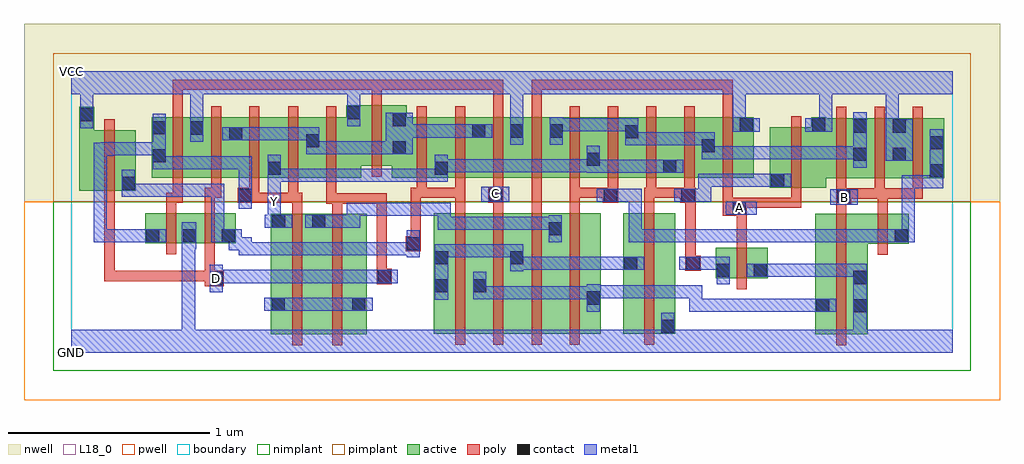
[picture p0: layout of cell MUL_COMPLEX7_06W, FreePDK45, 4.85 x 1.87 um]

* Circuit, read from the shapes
.subckt MUL_COMPLEX7_06W A B C D GND VCC Y
M1 GND C n1 VSUBS nfet w=0.15u l=0.05u
M2 n2 D GND VSUBS nfet w=0.15u l=0.05u
M3 n3 n1 Y VSUBS nfet w=0.6u l=0.05u
M4 Y D n3 VSUBS nfet w=0.6u l=0.05u
M5 n4 n2 n5 VSUBS nfet w=0.6u l=0.05u
M6 n5 C n4 VSUBS nfet w=0.6u l=0.05u
M7 n3 A n5 VSUBS nfet w=0.6u l=0.05u
M8 n4 n6 n3 VSUBS nfet w=0.6u l=0.05u
M9 GND n7 n5 VSUBS nfet w=0.6u l=0.05u
M10 GND A n7 VSUBS nfet w=0.15u l=0.05u
M11 GND B n4 VSUBS nfet w=0.6u l=0.05u
M12 n6 B GND VSUBS nfet w=0.15u l=0.05u
M13 n2 D VCC n8 pfet w=0.3u l=0.05u
M14 VCC C n1 n8 pfet w=0.3u l=0.05u
M15 n9 D VCC n8 pfet w=0.3u l=0.05u m=2
M16 Y n1 n9 n8 pfet w=0.3u l=0.05u m=2
M17 n9 C VCC n8 pfet w=0.3u l=0.05u m=2
M18 Y n2 n9 n8 pfet w=0.3u l=0.05u m=2
M19 n10 A VCC n8 pfet w=0.3u l=0.05u m=2
M20 Y n6 n10 n8 pfet w=0.3u l=0.05u m=2
M21 Y n7 n10 n8 pfet w=0.3u l=0.05u m=2
M22 VCC A n7 n8 pfet w=0.3u l=0.05u
M23 n10 B VCC n8 pfet w=0.3u l=0.05u m=2
M24 n6 B VCC n8 pfet w=0.3u l=0.05u
.ends

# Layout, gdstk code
import gdstk
lib = gdstk.Library(unit=1e-6, precision=1e-09)
def R(c, l, rs):  # rectangles x0, y0, x1, y1
    for r in rs: c.add(gdstk.rectangle(r[:2], r[2:], *l))
def A(c, l, x, y, w, h, nx, ny, dx, dy):  # array of equal rectangles
    R(c, l, [(x+i*dx, y+j*dy, x+i*dx+w, y+j*dy+h) for i in range(nx) for j in range(ny)])
active = (1, 0)
pwell = (2, 0)
nwell = (3, 0)
nimplant = (4, 0)
pimplant = (5, 0)
poly = (9, 0)
contact = (10, 0)
metal1 = (11, 0)
L18_0 = (18, 0)
boundary = (235, 0)

mul_complex7_06w = lib.new_cell('MUL_COMPLEX7_06W')
A(mul_complex7_06w, active, 2.557, 0.87, 0.265, 0.3, 4, 1, 0.19, 0)
R(mul_complex7_06w, active, [(0.99,0.092,1.267,0.692), (1.192,0.092,1.467,0.692), (3.697,0.092,3.957,0.692), (0.99,0.095,1.067,0.692), (1.192,0.095,1.267,0.692), (1.392,0.095,1.467,0.305), (1.802,0.095,1.877,0.695), (1.802,0.095,2.067,0.695), (1.992,0.095,2.252,0.695), (1.992,0.095,2.067,0.547), (2.177,0.095,2.442,0.695), (2.177,0.095,2.252,0.677), (2.367,0.095,2.442,0.695), (2.367,0.095,2.632,0.695), (2.557,0.095,2.632,0.68), (2.742,0.095,3.002,0.695), (2.742,0.095,2.817,0.695), (2.927,0.095,3.002,0.417), (3.697,0.095,3.772,0.657), (3.882,0.197,3.957,0.542), (3.202,0.372,3.277,0.522), (3.202,0.372,3.462,0.522), (3.387,0.372,3.462,0.522), (3.882,0.542,4.162,0.692), (4.087,0.542,4.162,0.692), (0.367,0.545,0.442,0.695), (0.367,0.545,0.627,0.695), (0.552,0.545,0.817,0.695), (0.552,0.545,0.627,0.62), (0.742,0.545,0.817,0.695), (0.04,0.805,0.32,1.105), (0.04,0.805,0.115,1.222), (0.245,0.805,0.32,1.07), (3.472,0.82,3.752,1.12), (3.472,0.82,3.547,1.047), (3.677,0.867,3.957,1.167), (3.882,0.867,4.152,1.167), (3.882,0.867,3.957,1.167), (4.077,0.867,4.337,1.167), (4.077,0.867,4.152,1.165), (4.262,0.867,4.337,1.105), (0.4,0.87,0.66,1.17), (0.4,0.87,0.475,1.17), (0.585,0.87,0.855,1.17), (0.78,0.87,1.047,1.17), (0.972,0.87,1.237,1.17), (0.972,0.87,1.047,1.07), (1.162,0.87,1.442,1.17), (1.592,0.87,1.875,1.17), (1.8,0.87,1.875,1.07), (1.8,0.87,2.062,1.17), (1.987,0.87,2.252,1.17), (2.177,0.87,2.447,1.17), (2.372,0.87,2.632,1.17), (2.557,0.87,2.632,1.07), (2.747,0.87,2.822,1.142), (2.937,0.87,3.012,1.07), (3.127,0.872,3.202,1.105), (0.78,0.882,0.855,1.127), (1.162,0.882,1.237,1.142), (2.177,0.907,2.252,1.17), (1.987,0.927,2.062,1.142), (1.367,0.93,1.667,1.23), (0.585,0.962,0.66,1.155), (1.592,0.962,1.667,1.197), (2.372,0.962,2.447,1.14), (1.367,0.98,1.442,1.23), (3.677,1.002,3.752,1.17), (3.317,1.007,3.392,1.17)])
R(mul_complex7_06w, pwell, [(-0.235,-0.235,4.615,0.75)])
R(mul_complex7_06w, nwell, [(-0.235,0.75,4.615,1.635)])
R(mul_complex7_06w, nimplant, [(-0.09,-0.09,4.47,0.75)])
R(mul_complex7_06w, pimplant, [(-0.09,0.75,4.47,1.49)])
A(mul_complex7_06w, poly, 1.907, 0.04, 0.05, 0.71, 4, 1, 0.19, 0)
A(mul_complex7_06w, poly, 3.802, 0.767, 0.05, 0.095, 3, 1, 0.19, 0)
A(mul_complex7_06w, poly, 1.717, 0.77, 0.05, 0.095, 8, 1, 0.19, 0)
A(mul_complex7_06w, poly, 3.802, 0.812, 0.05, 0.41, 3, 1, 0.19, 0)
A(mul_complex7_06w, poly, 0.505, 0.815, 0.05, 0.41, 3, 1, 0.19, 0)
A(mul_complex7_06w, poly, 1.717, 0.815, 0.05, 0.41, 9, 1, 0.19, 0)
R(mul_complex7_06w, poly, [(1.097,0.037,1.147,0.747), (1.297,0.037,1.347,0.747), (3.802,0.037,3.852,0.747), (2.847,0.04,2.897,0.75), (3.307,0.317,3.357,0.577), (0.662,0.332,0.757,0.407), (1.517,0.342,1.592,0.417), (0.165,0.357,0.215,0.407), (0.165,0.357,0.215,0.407), (0.165,0.357,0.215,0.407), (0.165,0.357,0.215,0.407), (0.165,0.357,0.215,0.407), (0.165,0.357,0.215,0.407), (0.165,0.357,0.215,0.407), (0.165,0.357,0.215,0.407), (0.165,0.357,0.215,0.407), (0.165,0.357,0.347,0.407), (0.165,0.357,0.215,0.8), (0.297,0.357,0.347,0.407), (0.297,0.357,0.48,0.407), (0.43,0.357,0.48,0.407), (0.43,0.357,0.48,0.407), (0.43,0.357,0.48,0.407), (0.43,0.357,0.712,0.407), (0.662,0.357,0.712,0.54), (1.517,0.367,1.567,0.417), (1.517,0.367,1.567,0.417), (1.517,0.367,1.567,0.417), (1.517,0.367,1.567,0.417), (1.517,0.367,1.567,0.792), (3.052,0.407,3.127,0.482), (3.052,0.432,3.102,0.482), (3.052,0.432,3.102,0.482), (3.052,0.432,3.102,0.795), (4.007,0.487,4.057,0.747), (0.472,0.49,0.522,0.75), (0.662,0.49,0.712,0.75), (1.662,0.505,1.737,0.58), (3.307,0.527,3.357,0.732), (1.687,0.53,1.737,0.82), (3.237,0.682,3.357,0.77), (1.097,0.697,1.147,0.795), (1.297,0.697,1.347,0.792), (3.802,0.697,3.852,0.792), (4.007,0.697,4.057,0.817), (0.472,0.7,0.522,0.795), (0.662,0.7,0.712,0.82), (1.907,0.7,1.957,0.82), (2.097,0.7,2.147,0.795), (2.287,0.7,2.337,0.82), (2.477,0.7,2.527,0.82), (2.847,0.7,2.897,0.82), (3.237,0.72,3.287,0.865), (3.307,0.72,3.357,0.77), (3.307,0.72,3.357,0.77), (3.307,0.72,3.627,0.77), (3.577,0.72,3.627,0.815), (3.577,0.72,3.627,0.77), (3.577,0.72,3.627,0.77), (3.577,0.72,3.627,0.77), (1.267,0.742,1.347,0.792), (1.267,0.742,1.317,0.865), (1.297,0.742,1.567,0.792), (1.517,0.742,1.567,0.792), (1.517,0.742,1.567,0.792), (1.517,0.742,1.567,0.792), (3.802,0.742,3.877,0.817), (0.472,0.745,0.555,0.795), (0.505,0.745,0.555,0.865), (0.827,0.745,0.935,0.82), (0.885,0.745,0.935,0.795), (0.885,0.745,0.935,0.795), (0.885,0.745,1.127,0.795), (1.077,0.745,1.127,0.865), (1.077,0.745,1.147,0.795), (2.072,0.745,2.147,0.82), (2.642,0.745,2.717,0.82), (3.027,0.745,3.102,0.82), (0.165,0.75,0.215,1.16), (3.577,0.765,3.627,1.175), (3.827,0.767,4.042,0.817), (3.992,0.767,4.042,0.817), (3.992,0.767,4.042,0.817), (3.992,0.767,4.057,0.817), (4.007,0.767,4.232,0.817), (4.182,0.767,4.232,0.817), (4.182,0.767,4.232,0.817), (4.182,0.767,4.232,0.817), (0.662,0.77,0.745,0.82), (0.695,0.77,0.745,0.865), (0.885,0.77,0.935,0.865), (1.687,0.77,1.737,0.82), (1.687,0.77,1.737,0.82), (1.687,0.77,1.767,0.82), (1.717,0.77,1.957,0.82), (1.907,0.77,1.957,0.82), (1.907,0.77,1.957,0.82), (1.907,0.77,1.957,0.82), (2.287,0.77,2.337,0.82), (2.477,0.77,2.527,0.82), (2.477,0.77,2.527,0.82), (2.477,0.77,2.527,0.82), (2.477,0.77,2.692,0.82), (2.847,0.77,2.907,0.82), (2.857,0.77,2.907,0.82), (2.857,0.77,2.907,0.82), (2.857,0.77,3.077,0.82), (1.077,0.815,1.127,1.225), (1.267,0.815,1.317,1.225), (1.492,0.875,1.542,1.285), (0.505,1.175,0.555,1.357), (2.097,1.175,2.147,1.357), (2.287,1.175,2.337,1.357), (3.237,1.175,3.287,1.357), (1.492,1.235,1.542,1.357), (0.505,1.307,0.555,1.357), (0.505,1.307,0.555,1.357), (0.505,1.307,0.555,1.357), (0.505,1.307,0.687,1.357), (0.637,1.307,0.687,1.357), (0.637,1.307,0.687,1.357), (0.637,1.307,0.687,1.357), (0.637,1.307,0.877,1.357), (0.827,1.307,0.877,1.357), (0.827,1.307,0.877,1.357), (0.827,1.307,0.877,1.357), (0.827,1.307,1.147,1.357), (1.097,1.307,1.147,1.357), (1.097,1.307,1.147,1.357), (1.097,1.307,1.147,1.357), (1.097,1.307,1.28,1.357), (1.23,1.307,1.28,1.357), (1.23,1.307,1.28,1.357), (1.23,1.307,1.28,1.357), (1.23,1.307,1.542,1.357), (1.492,1.307,1.542,1.357), (1.492,1.307,1.825,1.357), (1.775,1.307,1.825,1.357), (1.775,1.307,1.825,1.357), (1.775,1.307,1.825,1.357), (1.775,1.307,1.99,1.357), (1.94,1.307,1.99,1.357), (1.94,1.307,1.99,1.357), (1.94,1.307,1.99,1.357), (1.94,1.307,2.147,1.357), (2.097,1.307,2.147,1.357), (2.097,1.307,2.147,1.357), (2.097,1.307,2.147,1.357), (2.287,1.307,2.337,1.357), (2.287,1.307,2.337,1.357), (2.287,1.307,2.337,1.357), (2.287,1.307,2.527,1.357), (2.477,1.307,2.527,1.357), (2.477,1.307,2.527,1.357), (2.477,1.307,2.527,1.357), (2.477,1.307,2.66,1.357), (2.61,1.307,2.66,1.357), (2.61,1.307,2.66,1.357), (2.61,1.307,2.66,1.357), (2.61,1.307,2.85,1.357), (2.8,1.307,2.85,1.357), (2.8,1.307,2.85,1.357), (2.8,1.307,2.85,1.357), (2.8,1.307,3.04,1.357), (2.99,1.307,3.04,1.357), (2.99,1.307,3.04,1.357), (2.99,1.307,3.04,1.357), (2.99,1.307,3.287,1.357), (3.237,1.307,3.287,1.357)])
R(mul_complex7_06w, contact, [(2.932,0.1,2.997,0.165), (3.887,0.202,3.952,0.267), (3.702,0.205,3.767,0.27), (0.995,0.21,1.06,0.275), (1.397,0.21,1.462,0.275), (2.562,0.24,2.627,0.305), (1.807,0.3,1.872,0.365), (1.997,0.302,2.062,0.367), (0.687,0.337,0.752,0.402), (3.887,0.342,3.952,0.407), (1.522,0.347,1.587,0.412), (3.207,0.377,3.272,0.442), (3.392,0.377,3.457,0.442), (2.747,0.412,2.812,0.477), (3.057,0.412,3.122,0.477), (1.807,0.44,1.872,0.505), (2.182,0.44,2.247,0.505), (1.667,0.51,1.732,0.575), (0.372,0.55,0.437,0.615), (0.557,0.55,0.622,0.615), (0.747,0.55,0.812,0.615), (4.092,0.55,4.157,0.615), (2.372,0.585,2.437,0.65), (0.997,0.622,1.062,0.687), (1.197,0.622,1.262,0.687), (3.287,0.687,3.352,0.752), (3.807,0.747,3.872,0.812), (0.832,0.75,0.897,0.815), (2.077,0.75,2.142,0.815), (2.647,0.75,2.712,0.815), (3.032,0.75,3.097,0.815), (0.25,0.81,0.315,0.875), (3.477,0.825,3.542,0.89), (4.267,0.872,4.332,0.937), (0.977,0.885,1.042,0.95), (1.805,0.885,1.87,0.95), (2.942,0.895,3.007,0.96), (2.562,0.93,2.627,0.995), (0.405,0.947,0.47,1.012), (3.887,0.955,3.952,1.02), (4.082,0.955,4.147,1.02), (1.597,0.987,1.662,1.052), (3.132,0.997,3.197,1.062), (4.267,1.012,4.332,1.077), (1.167,1.022,1.232,1.087), (0.785,1.057,0.85,1.122), (2.752,1.067,2.817,1.132), (1.992,1.07,2.057,1.135), (2.182,1.07,2.247,1.135), (2.377,1.07,2.442,1.135), (0.59,1.085,0.655,1.15), (0.405,1.087,0.47,1.152), (3.887,1.095,3.952,1.16), (4.082,1.095,4.147,1.16), (3.322,1.1,3.387,1.165), (3.682,1.1,3.747,1.165), (1.597,1.127,1.662,1.192), (0.045,1.152,0.11,1.217), (1.372,1.16,1.437,1.225)])
R(mul_complex7_06w, metal1, [(0,0,4.38,0.115), (0.55,0.05,0.615,0.115), (0.55,0.05,0.615,0.115), (0.55,0.05,0.615,0.115), (0.55,0.05,0.615,0.115), (0.55,0.05,0.615,0.58), (2.932,0.05,2.997,0.13), (3.887,0.05,3.952,0.232), (2.932,0.065,2.997,0.2), (3.887,0.167,3.952,0.442), (2.562,0.205,2.627,0.34), (3.07,0.205,3.197,0.27), (3.07,0.205,3.135,0.337), (3.132,0.205,3.197,0.27), (3.132,0.205,3.335,0.27), (3.27,0.205,3.335,0.27), (3.27,0.205,3.335,0.27), (3.27,0.205,3.335,0.27), (3.27,0.205,3.472,0.27), (3.407,0.205,3.472,0.27), (3.407,0.205,3.677,0.27), (3.612,0.205,3.677,0.27), (3.612,0.205,3.732,0.27), (3.667,0.205,3.802,0.27), (0.96,0.21,1.095,0.275), (1.03,0.21,1.095,0.275), (1.03,0.21,1.095,0.275), (1.03,0.21,1.29,0.275), (1.225,0.21,1.29,0.275), (1.225,0.21,1.29,0.275), (1.225,0.21,1.29,0.275), (1.225,0.21,1.427,0.275), (1.362,0.21,1.497,0.275), (1.807,0.265,1.872,0.54), (1.997,0.267,2.062,0.332), (1.997,0.267,2.062,0.332), (1.997,0.267,2.2,0.332), (1.997,0.267,2.062,0.402), (2.135,0.267,2.2,0.332), (2.135,0.267,2.2,0.332), (2.135,0.267,2.2,0.332), (2.135,0.267,2.437,0.332), (2.372,0.267,2.437,0.332), (2.372,0.267,2.437,0.332), (2.372,0.267,2.437,0.332), (2.372,0.267,2.627,0.332), (2.562,0.272,2.627,0.337), (2.562,0.272,2.627,0.337), (2.562,0.272,2.765,0.337), (2.7,0.272,2.765,0.337), (2.7,0.272,2.885,0.337), (2.82,0.272,2.885,0.337), (2.82,0.272,3.042,0.337), (2.977,0.272,3.042,0.337), (2.977,0.272,3.135,0.337), (0.687,0.302,0.752,0.437), (3.207,0.342,3.272,0.477), (0.687,0.347,0.752,0.412), (0.687,0.347,0.752,0.412), (0.687,0.347,0.905,0.412), (0.84,0.347,0.905,0.412), (0.84,0.347,1.09,0.412), (1.025,0.347,1.09,0.412), (1.025,0.347,1.09,0.412), (1.025,0.347,1.09,0.412), (1.025,0.347,1.235,0.412), (1.17,0.347,1.235,0.412), (1.17,0.347,1.235,0.412), (1.17,0.347,1.235,0.412), (1.17,0.347,1.435,0.412), (1.37,0.347,1.435,0.412), (1.37,0.347,1.552,0.412), (1.487,0.347,1.622,0.412), (3.357,0.377,3.492,0.442), (3.427,0.377,3.492,0.442), (3.427,0.377,3.492,0.442), (3.427,0.377,3.677,0.442), (3.612,0.377,3.677,0.442), (3.612,0.377,3.677,0.442), (3.612,0.377,3.677,0.442), (3.612,0.377,3.952,0.442), (3.887,0.377,3.952,0.442), (3.887,0.377,3.952,0.442), (3.887,0.377,3.952,0.442), (3.887,0.377,3.952,0.442), (3.887,0.377,3.952,0.442), (3.887,0.377,3.952,0.442), (3.887,0.377,3.952,0.442), (3.887,0.377,3.952,0.442), (2.182,0.405,2.247,0.54), (2.182,0.412,2.247,0.477), (2.182,0.412,2.247,0.477), (2.182,0.412,2.49,0.477), (2.425,0.412,2.49,0.477), (2.425,0.412,2.49,0.477), (2.425,0.412,2.49,0.477), (2.425,0.412,2.627,0.477), (2.562,0.412,2.627,0.477), (2.562,0.412,2.627,0.477), (2.562,0.412,2.627,0.477), (2.562,0.412,2.777,0.477), (2.712,0.412,2.847,0.477), (3.022,0.412,3.157,0.477), (3.092,0.412,3.272,0.477), (1.667,0.475,1.732,0.61), (1.807,0.475,1.872,0.54), (1.807,0.475,1.872,0.54), (1.807,0.475,2.022,0.54), (1.957,0.475,2.022,0.54), (1.957,0.475,2.022,0.54), (1.957,0.475,2.022,0.54), (1.957,0.475,2.247,0.54), (0.832,0.485,1.09,0.55), (0.832,0.485,0.897,0.575), (1.025,0.485,1.09,0.55), (1.025,0.485,1.09,0.55), (1.025,0.485,1.09,0.55), (1.025,0.485,1.29,0.55), (1.225,0.485,1.29,0.55), (1.225,0.485,1.29,0.55), (1.225,0.485,1.29,0.55), (1.225,0.485,1.435,0.55), (1.37,0.485,1.435,0.55), (1.37,0.485,1.435,0.55), (1.37,0.485,1.435,0.55), (1.37,0.485,1.732,0.55), (1.667,0.485,1.732,0.55), (1.667,0.485,1.732,0.55), (0.782,0.51,0.847,0.575), (0.782,0.51,0.897,0.575), (0.782,0.51,0.847,0.615), (0.55,0.515,0.615,0.58), (0.55,0.515,0.615,0.58), (0.55,0.515,0.622,0.65), (0.112,0.55,0.177,0.615), (0.112,0.55,0.177,0.615), (0.112,0.55,0.177,0.615), (0.112,0.55,0.402,0.615), (0.112,0.55,0.177,1.045), (0.337,0.55,0.402,0.615), (0.337,0.55,0.402,0.615), (0.337,0.55,0.472,0.615), (0.695,0.55,0.847,0.615), (0.695,0.55,0.76,0.84), (2.372,0.55,2.437,0.685), (2.77,0.55,2.835,0.615), (2.77,0.55,2.885,0.615), (2.77,0.55,2.835,0.815), (2.82,0.55,2.885,0.615), (2.82,0.55,3.042,0.615), (2.977,0.55,3.042,0.615), (2.977,0.55,3.042,0.615), (2.977,0.55,3.042,0.615), (2.977,0.55,3.18,0.615), (3.115,0.55,3.18,0.615), (3.115,0.55,3.335,0.615), (3.27,0.55,3.335,0.615), (3.27,0.55,3.335,0.615), (3.27,0.55,3.335,0.615), (3.27,0.55,3.54,0.615), (3.475,0.55,3.54,0.615), (3.475,0.55,3.677,0.615), (3.612,0.55,3.677,0.615), (3.612,0.55,3.815,0.615), (3.75,0.55,3.815,0.615), (3.75,0.55,3.815,0.615), (3.75,0.55,3.815,0.615), (3.75,0.55,3.975,0.615), (3.91,0.55,3.975,0.615), (3.91,0.55,4.122,0.615), (4.057,0.55,4.122,0.615), (4.057,0.55,4.122,0.615), (4.057,0.55,4.192,0.615), (4.127,0.55,4.192,0.882), (1.82,0.612,1.885,0.677), (1.82,0.612,1.885,0.677), (1.82,0.612,2.022,0.677), (1.82,0.612,1.885,0.747), (1.957,0.612,2.022,0.677), (1.957,0.612,2.022,0.677), (1.957,0.612,2.022,0.677), (1.957,0.612,2.3,0.677), (2.235,0.612,2.3,0.677), (2.235,0.612,2.3,0.677), (2.235,0.612,2.3,0.677), (2.235,0.612,2.437,0.677), (0.962,0.622,1.097,0.687), (0.977,0.622,1.042,0.747), (1.162,0.622,1.297,0.687), (1.232,0.622,1.297,0.687), (1.232,0.622,1.297,0.687), (1.232,0.622,1.435,0.687), (1.37,0.622,1.435,0.687), (1.37,0.622,1.435,0.687), (1.37,0.622,1.435,0.747), (0.977,0.682,1.042,0.817), (1.37,0.682,1.572,0.747), (1.507,0.682,1.572,0.747), (1.507,0.682,1.572,0.747), (1.507,0.682,1.572,0.747), (1.507,0.682,1.885,0.747), (3.252,0.687,3.407,0.752), (0.832,0.715,0.897,0.85), (3.772,0.735,3.907,0.812), (2.037,0.75,2.177,0.825), (2.612,0.75,2.747,0.815), (2.682,0.75,2.835,0.815), (2.77,0.75,2.835,0.815), (2.997,0.75,3.132,0.815), (3.067,0.75,3.18,0.815), (3.115,0.75,3.18,0.815), (3.115,0.75,3.18,0.89), (0.977,0.752,1.042,0.915), (0.25,0.775,0.315,0.91), (0.25,0.775,0.35,0.84), (0.285,0.775,0.35,0.84), (0.285,0.775,0.607,0.84), (0.542,0.775,0.607,0.84), (0.542,0.775,0.607,0.84), (0.542,0.775,0.607,0.84), (0.542,0.775,0.607,0.84), (0.542,0.775,0.607,0.84), (0.542,0.775,0.76,0.84), (0.695,0.775,0.76,0.84), (0.695,0.775,0.76,0.84), (0.695,0.775,0.76,0.84), (0.832,0.785,0.897,0.977), (4.127,0.817,4.192,0.882), (4.127,0.817,4.192,0.882), (4.127,0.817,4.192,0.882), (4.127,0.817,4.332,0.882), (4.267,0.817,4.332,0.902), (3.115,0.825,3.18,0.89), (3.115,0.825,3.335,0.89), (3.27,0.825,3.335,0.89), (3.27,0.825,3.335,0.89), (3.27,0.825,3.335,0.89), (3.27,0.825,3.507,0.89), (3.442,0.825,3.577,0.89), (4.267,0.837,4.332,0.902), (4.267,0.837,4.332,1.112), (0.977,0.85,1.042,0.915), (0.977,0.85,1.042,0.915), (0.977,0.85,1.042,0.985), (0.977,0.85,1.29,0.915), (1.225,0.85,1.29,0.915), (1.225,0.85,1.29,0.915), (1.225,0.85,1.29,0.915), (1.225,0.85,1.435,0.915), (1.37,0.85,1.435,0.915), (1.37,0.85,1.435,0.915), (1.37,0.85,1.435,0.915), (1.37,0.85,1.732,0.915), (1.667,0.85,1.732,0.915), (1.667,0.85,1.732,0.915), (1.667,0.85,1.732,0.915), (1.667,0.85,1.87,0.915), (1.805,0.85,1.87,0.985), (2.562,0.895,2.627,0.96), (2.562,0.895,2.627,0.96), (2.562,0.895,2.765,0.96), (2.562,0.895,2.627,1.03), (2.7,0.895,2.765,0.96), (2.7,0.895,2.885,0.96), (2.82,0.895,2.885,0.96), (2.82,0.895,2.972,0.96), (2.907,0.895,3.042,0.96), (1.805,0.897,1.87,0.962), (1.805,0.897,1.87,0.962), (1.805,0.897,2.022,0.962), (1.957,0.897,2.022,0.962), (1.957,0.897,2.022,0.962), (1.957,0.897,2.022,0.962), (1.957,0.897,2.3,0.962), (2.235,0.897,2.3,0.962), (2.235,0.897,2.3,0.962), (2.235,0.897,2.3,0.962), (2.235,0.897,2.49,0.962), (2.425,0.897,2.49,0.962), (2.425,0.897,2.49,0.962), (2.425,0.897,2.49,0.962), (2.425,0.897,2.627,0.962), (0.405,0.912,0.47,1.187), (0.405,0.912,0.615,0.977), (0.55,0.912,0.615,0.977), (0.55,0.912,0.615,0.977), (0.55,0.912,0.615,0.977), (0.55,0.912,0.76,0.977), (0.695,0.912,0.76,0.977), (0.695,0.912,0.76,0.977), (0.695,0.912,0.76,0.977), (0.695,0.912,0.76,0.977), (0.695,0.912,0.76,0.977), (0.695,0.912,0.897,0.977), (0.832,0.912,0.897,0.977), (3.887,0.92,3.952,1.195), (4.047,0.955,4.182,1.16), (3.132,0.962,3.295,1.027), (3.132,0.962,3.197,1.097), (3.23,0.962,3.295,1.027), (3.23,0.962,3.472,1.027), (3.407,0.962,3.472,1.027), (3.407,0.962,3.472,1.027), (3.407,0.962,3.472,1.027), (3.407,0.962,3.677,1.027), (3.612,0.962,3.677,1.027), (3.612,0.962,3.677,1.027), (3.612,0.962,3.677,1.027), (3.612,0.962,3.952,1.027), (3.887,0.962,3.952,1.027), (3.887,0.962,3.952,1.027), (0.112,0.98,0.177,1.045), (0.112,0.98,0.177,1.045), (0.112,0.98,0.177,1.045), (0.112,0.98,0.177,1.045), (0.112,0.98,0.177,1.045), (0.112,0.98,0.212,1.045), (0.147,0.98,0.212,1.047), (0.147,0.982,0.47,1.047), (0.405,0.982,0.47,1.047), (0.405,0.982,0.47,1.047), (1.167,0.987,1.232,1.052), (1.167,0.987,1.232,1.122), (1.167,0.987,1.235,1.052), (1.17,0.987,1.235,1.052), (1.17,0.987,1.235,1.052), (1.17,0.987,1.435,1.052), (1.37,0.987,1.435,1.052), (1.37,0.987,1.435,1.052), (1.37,0.987,1.435,1.052), (1.37,0.987,1.627,1.052), (1.562,0.987,1.697,1.192), (2.752,1.032,2.817,1.167), (2.752,1.032,2.885,1.097), (2.82,1.032,2.885,1.097), (2.82,1.032,3.022,1.097), (2.957,1.032,3.022,1.097), (2.957,1.032,3.022,1.097), (2.957,1.032,3.022,1.097), (2.957,1.032,3.197,1.097), (2.182,1.035,2.247,1.17), (2.377,1.035,2.442,1.17), (0.59,1.05,0.655,1.185), (0.75,1.057,0.885,1.122), (0.82,1.057,0.897,1.122), (0.832,1.057,0.897,1.122), (0.832,1.057,1.09,1.122), (1.025,1.057,1.09,1.122), (1.025,1.057,1.09,1.122), (1.025,1.057,1.09,1.122), (1.025,1.057,1.232,1.122), (1.632,1.07,1.697,1.135), (1.632,1.07,1.697,1.135), (1.632,1.07,1.885,1.135), (1.82,1.07,1.885,1.135), (1.82,1.07,1.885,1.135), (1.82,1.07,1.885,1.135), (1.82,1.07,2.022,1.135), (1.957,1.07,2.092,1.135), (4.047,1.095,4.112,1.35), (3.287,1.1,3.352,1.165), (3.287,1.1,3.352,1.165), (3.287,1.1,3.422,1.165), (3.287,1.1,3.352,1.35), (3.647,1.1,3.782,1.165), (3.717,1.1,3.782,1.165), (3.717,1.1,3.782,1.165), (3.717,1.1,3.782,1.35), (2.377,1.102,2.442,1.167), (2.377,1.102,2.442,1.167), (2.377,1.102,2.627,1.167), (2.562,1.102,2.627,1.167), (2.562,1.102,2.627,1.167), (2.562,1.102,2.627,1.167), (2.562,1.102,2.817,1.167), (2.182,1.105,2.247,1.17), (2.182,1.105,2.247,1.17), (2.182,1.105,2.247,1.35), (0.045,1.117,0.11,1.252), (0.59,1.12,0.655,1.35), (1.372,1.125,1.437,1.26), (0.045,1.187,0.11,1.35), (1.372,1.195,1.437,1.26), (1.372,1.195,1.437,1.26), (1.372,1.195,1.437,1.35), (0,1.285,4.38,1.4), (0.045,1.285,0.11,1.35), (0.045,1.285,0.11,1.35), (0.59,1.285,0.655,1.35), (0.59,1.285,0.655,1.35), (4.047,1.285,4.112,1.35), (4.047,1.285,4.112,1.35)])
R(mul_complex7_06w, L18_0, [(0,0,4.38,0.115), (0.55,0.05,0.615,0.115), (0.55,0.05,0.615,0.115), (0.55,0.05,0.615,0.115), (0.55,0.05,0.615,0.115), (0.55,0.05,0.615,0.58), (2.932,0.05,2.997,0.13), (3.887,0.05,3.952,0.232), (2.932,0.065,2.997,0.2), (3.887,0.167,3.952,0.442), (0.96,0.21,1.095,0.275), (1.03,0.21,1.095,0.275), (1.03,0.21,1.095,0.275), (1.03,0.21,1.29,0.275), (1.225,0.21,1.29,0.275), (1.225,0.21,1.29,0.275), (1.225,0.21,1.29,0.275), (1.225,0.21,1.427,0.275), (1.362,0.21,1.497,0.275), (0.687,0.302,0.752,0.437), (0.687,0.337,0.752,0.402), (0.687,0.347,0.752,0.412), (0.687,0.347,0.752,0.412), (0.687,0.347,0.905,0.412), (0.84,0.347,0.905,0.412), (0.84,0.347,1.09,0.412), (1.025,0.347,1.09,0.412), (1.025,0.347,1.09,0.412), (1.025,0.347,1.09,0.412), (1.025,0.347,1.235,0.412), (1.17,0.347,1.235,0.412), (1.17,0.347,1.235,0.412), (1.17,0.347,1.235,0.412), (1.17,0.347,1.435,0.412), (1.37,0.347,1.435,0.412), (1.37,0.347,1.552,0.412), (1.487,0.347,1.622,0.412), (3.357,0.377,3.492,0.442), (3.427,0.377,3.492,0.442), (3.427,0.377,3.492,0.442), (3.427,0.377,3.677,0.442), (3.612,0.377,3.677,0.442), (3.612,0.377,3.677,0.442), (3.612,0.377,3.677,0.442), (3.612,0.377,3.952,0.442), (3.887,0.377,3.952,0.442), (3.887,0.377,3.952,0.442), (3.887,0.377,3.952,0.442), (3.887,0.377,3.952,0.442), (3.887,0.377,3.952,0.442), (3.887,0.377,3.952,0.442), (3.887,0.377,3.952,0.442), (3.887,0.377,3.952,0.442), (0.55,0.515,0.615,0.58), (0.55,0.515,0.615,0.58), (0.55,0.515,0.622,0.65), (0.962,0.622,1.097,0.687), (0.977,0.622,1.042,0.747), (0.977,0.682,1.042,0.817), (3.252,0.687,3.407,0.752), (3.287,0.687,3.352,0.752), (0.977,0.717,1.042,0.782), (3.772,0.735,3.907,0.812), (3.807,0.737,3.872,0.802), (2.037,0.75,2.177,0.825), (0.977,0.752,1.042,0.915), (2.077,0.757,2.142,0.822), (0.977,0.85,1.042,0.985), (0.977,0.85,1.042,0.915), (0.977,0.85,1.042,0.915), (0.977,0.85,1.29,0.915), (1.225,0.85,1.29,0.915), (1.225,0.85,1.29,0.915), (1.225,0.85,1.29,0.915), (1.225,0.85,1.435,0.915), (1.37,0.85,1.435,0.915), (1.37,0.85,1.435,0.915), (1.37,0.85,1.435,0.915), (1.37,0.85,1.732,0.915), (1.667,0.85,1.732,0.915), (1.667,0.85,1.732,0.915), (1.667,0.85,1.732,0.915), (1.667,0.85,1.87,0.915), (1.805,0.85,1.87,0.985), (2.562,0.895,2.627,1.03), (2.562,0.895,2.627,0.96), (2.562,0.895,2.627,0.96), (2.562,0.895,2.765,0.96), (2.7,0.895,2.765,0.96), (2.7,0.895,2.885,0.96), (2.82,0.895,2.885,0.96), (2.82,0.895,2.972,0.96), (2.907,0.895,3.042,0.96), (1.805,0.897,1.87,0.962), (1.805,0.897,1.87,0.962), (1.805,0.897,2.022,0.962), (1.957,0.897,2.022,0.962), (1.957,0.897,2.022,0.962), (1.957,0.897,2.022,0.962), (1.957,0.897,2.3,0.962), (2.235,0.897,2.3,0.962), (2.235,0.897,2.3,0.962), (2.235,0.897,2.3,0.962), (2.235,0.897,2.49,0.962), (2.425,0.897,2.49,0.962), (2.425,0.897,2.49,0.962), (2.425,0.897,2.49,0.962), (2.425,0.897,2.627,0.962), (4.047,0.955,4.182,1.16), (2.182,1.035,2.247,1.17), (0.59,1.05,0.655,1.185), (4.047,1.095,4.112,1.35), (3.287,1.1,3.352,1.165), (3.287,1.1,3.352,1.165), (3.287,1.1,3.422,1.165), (3.287,1.1,3.352,1.35), (3.647,1.1,3.782,1.165), (3.717,1.1,3.782,1.165), (3.717,1.1,3.782,1.165), (3.717,1.1,3.782,1.35), (2.182,1.105,2.247,1.17), (2.182,1.105,2.247,1.17), (2.182,1.105,2.247,1.35), (0.045,1.117,0.11,1.252), (0.59,1.12,0.655,1.35), (1.372,1.125,1.437,1.26), (0.045,1.187,0.11,1.35), (1.372,1.195,1.437,1.26), (1.372,1.195,1.437,1.26), (1.372,1.195,1.437,1.35), (0,1.285,4.38,1.4), (0.045,1.285,0.11,1.35), (0.045,1.285,0.11,1.35), (0.59,1.285,0.655,1.35), (0.59,1.285,0.655,1.35), (4.047,1.285,4.112,1.35), (4.047,1.285,4.112,1.35)])
R(mul_complex7_06w, boundary, [(0,0,4.38,1.4)])
mul_complex7_06w.add(gdstk.Label('A', (3.32,0.72), layer=11, texttype=0))
mul_complex7_06w.add(gdstk.Label('B', (3.84,0.77), layer=11, texttype=0))
mul_complex7_06w.add(gdstk.Label('C', (2.11,0.79), layer=11, texttype=0))
mul_complex7_06w.add(gdstk.Label('D', (0.72,0.37), layer=11, texttype=0))
mul_complex7_06w.add(gdstk.Label('Y', (1.01,0.75), layer=11, texttype=0))
mul_complex7_06w.add(gdstk.Label('VCC', (0,1.4), layer=11, texttype=0))
mul_complex7_06w.add(gdstk.Label('GND', (0,0), layer=11, texttype=0))

lib.write_gds('MUL_COMPLEX7_06W.gds')
